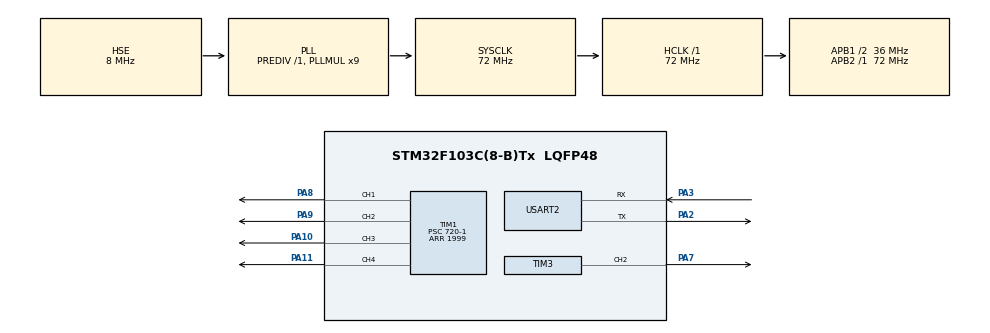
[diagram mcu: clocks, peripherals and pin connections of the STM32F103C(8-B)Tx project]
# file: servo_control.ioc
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Mcu.Family=STM32F1
Mcu.Name=STM32F103C(8-B)Tx
Mcu.Package=LQFP48
NVIC.PriorityGroup=NVIC_PRIORITYGROUP_4
NVIC.TIM1_BRK_IRQn=true\:0\:0\:false\:false\:true\:true\:true\:true
NVIC.TIM1_TRG_COM_IRQn=true\:0\:0\:false\:false\:true\:true\:true\:true
NVIC.TIM1_UP_IRQn=true\:0\:0\:false\:false\:true\:true\:true\:true
NVIC.TIM3_IRQn=true\:0\:0\:false\:false\:true\:true\:true\:true
PA10.Signal=S_TIM1_CH3
PA11.Signal=S_TIM1_CH4
PA13.Mode=Serial_Wire
PA13.Signal=SYS_JTMS-SWDIO
PA14.Mode=Serial_Wire
PA14.Signal=SYS_JTCK-SWCLK
PA2.Mode=Asynchronous
PA2.Signal=USART2_TX
PA3.Mode=Asynchronous
PA3.Signal=USART2_RX
PA7.Signal=S_TIM3_CH2
PA8.Signal=S_TIM1_CH1
PA9.Signal=S_TIM1_CH2
PD0-OSC_IN.Mode=HSE-External-Oscillator
PD0-OSC_IN.Signal=RCC_OSC_IN
PD1-OSC_OUT.Mode=HSE-External-Oscillator
PD1-OSC_OUT.Signal=RCC_OSC_OUT
ProjectManager.HeapSize=0x200
ProjectManager.StackSize=0x400
ProjectManager.TargetToolchain=MDK-ARM V5.32
RCC.AHBFreq_Value=72000000
RCC.APB1CLKDivider=RCC_HCLK_DIV2
RCC.APB1Freq_Value=36000000
RCC.APB1TimFreq_Value=72000000
RCC.APB2Freq_Value=72000000
RCC.APB2TimFreq_Value=72000000
RCC.HCLKFreq_Value=72000000
RCC.PLLMUL=RCC_PLL_MUL9
RCC.PLLSourceVirtual=RCC_PLLSOURCE_HSE
RCC.SYSCLKFreq_VALUE=72000000
RCC.SYSCLKSource=RCC_SYSCLKSOURCE_PLLCLK
RCC.USBFreq_Value=72000000
SH.S_TIM1_CH1.0=TIM1_CH1,PWM Generation1 CH1
SH.S_TIM1_CH2.0=TIM1_CH2,PWM Generation2 CH2
SH.S_TIM1_CH3.0=TIM1_CH3,PWM Generation3 CH3
SH.S_TIM1_CH4.0=TIM1_CH4,PWM Generation4 CH4
SH.S_TIM3_CH2.0=TIM3_CH2,PWM Generation2 CH2
TIM1.AutoReloadPreload=TIM_AUTORELOAD_PRELOAD_ENABLE
TIM1.Channel-PWM\ Generation1\ CH1=TIM_CHANNEL_1
TIM1.Channel-PWM\ Generation2\ CH2=TIM_CHANNEL_2
TIM1.Channel-PWM\ Generation3\ CH3=TIM_CHANNEL_3
TIM1.Channel-PWM\ Generation4\ CH4=TIM_CHANNEL_4
TIM1.Period=1999
TIM1.Prescaler=720-1
TIM1.Pulse-PWM\ Generation2\ CH2=50
TIM3.Channel-PWM\ Generation2\ CH2=TIM_CHANNEL_2
USART2.VirtualMode=VM_ASYNC
VP_TIM1_VS_ClockSourceINT.Mode=Internal
VP_TIM3_VS_ClockSourceINT.Mode=Internal
board=custom

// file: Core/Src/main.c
/* USER CODE BEGIN Header */
/**
  ******************************************************************************
  * @file           : main.c
  * @brief          : Main program body
  ******************************************************************************
  * @attention
  *
  * Copyright (c) 2023 STMicroelectronics.
  * All rights reserved.
  *
  * This software is licensed under terms that can be found in the LICENSE file
  * in the root directory of this software component.
  * If no LICENSE file comes with this software, it is provided AS-IS.
  *
  ******************************************************************************
  */
/* USER CODE END Header */
#include "main.h"
#include "tim.h"
#include "usart.h"
#include "gpio.h"

/* USER CODE BEGIN PV */
//#include "io_retargetToUart.h"
#include <stdio.h>
#include "servo.h"
/* USER CODE END PV */

void SystemClock_Config(void);

/* USER CODE BEGIN 0 */
int fputc(int ch, FILE *f)
{
   HAL_UART_Transmit(&huart2, (uint8_t *)&ch, 1, 0xffff);
   return ch;
}

int fgetc(FILE *f)
{
   uint8_t ch = 0;
   HAL_UART_Receive(&huart2, &ch, 1, 0xffff);
   return ch;
}
/* USER CODE END 0 */

int main(void)
{

  /* MCU Configuration--------------------------------------------------------*/

  /* Reset of all peripherals, Initializes the Flash interface and the Systick. */
  HAL_Init();

  /* Configure the system clock */
  SystemClock_Config();

  /* Initialize all configured peripherals */
  MX_GPIO_Init();
  MX_TIM1_Init();
  MX_USART2_UART_Init();
  MX_TIM3_Init();
  /* USER CODE BEGIN 2 */
	//float m=0;
  HAL_TIM_Base_Start(&htim1);
	HAL_TIM_PWM_Start(&htim1,TIM_CHANNEL_4);
	HAL_TIM_PWM_Start(&htim1,TIM_CHANNEL_2);
	HAL_TIM_PWM_Start(&htim1,TIM_CHANNEL_3);

	//test1

//Servo_SetAngle(0,100);
//Servo_SetAngle(1,3);

//for(float temp=0;temp<=90;temp+=30)
//{Servo_SetAngle(0,temp);
//HAL_Delay(1000);}

Servo_SetAngle(0,20);
HAL_Delay(1500);
Servo_SetAngle(0,180);

		/*for(float temp=0;temp<=180;temp+=30)
	{
	Servo_SetAngle(1,temp);
	HAL_Delay(1000);
	}*/

	//test2

	//Servo_SetAngle(0,95);
	/*
Servo_SetAngle(2,180);
HAL_Delay(1500);
Servo_SetAngle(2,0);
HAL_Delay(1000);
Servo_SetAngle(0,60);
	*/

	//First grab   OK^_^
//
//		Servo_SetAngle(0,56);//^_^
//		Servo_SetAngle(1,180);
//		Servo_SetAngle(2,180); //open
//		HAL_Delay(1000);
//		Servo_SetAngle(2,20);//GRAB
//
//	//Second grab and store
//
//		HAL_Delay(3000);
//		Servo_SetAngle(0,88);
//	  Servo_SetAngle(1,0);
//    HAL_Delay(900);
//		Servo_SetAngle(2,180);//STORE
//
//		HAL_Delay(1500);
//		Servo_SetAngle(0,40);//^_^
//		Servo_SetAngle(1,180);
//		HAL_Delay(1000);
//		Servo_SetAngle(2,20);//GRAB
//
//	//Reposition
//	HAL_Delay(3000);
//	Servo_SetAngle(0,88);
//	Servo_SetAngle(1,90);
//
//	//Shoot
//	HAL_Delay(3000);
//	Servo_SetAngle(1,110);
//	Servo_SetAngle(2,180);//shoot

//	//Shoot again
//	HAL_Delay(3000);
//	Servo_SetAngle(0,88);
//	Servo_SetAngle(1,5);
//	HAL_Delay(1000);
//	Servo_SetAngle(2,0);//grab
//	HAL_Delay(1000);
//	Servo_SetAngle(1,110);
//	HAL_Delay(800);
//	Servo_SetAngle(2,180);//shoot
//

  /* USER CODE END 2 */

  /* Infinite loop */
  while (1)
  {

  }
}

void SystemClock_Config(void)
{
  RCC_OscInitTypeDef RCC_OscInitStruct = {0};
  RCC_ClkInitTypeDef RCC_ClkInitStruct = {0};

  /** Initializes the RCC Oscillators according to the specified parameters
  * in the RCC_OscInitTypeDef structure.
  */
  RCC_OscInitStruct.OscillatorType = RCC_OSCILLATORTYPE_HSE;
  RCC_OscInitStruct.HSEState = RCC_HSE_ON;
  RCC_OscInitStruct.HSEPredivValue = RCC_HSE_PREDIV_DIV1;
  RCC_OscInitStruct.HSIState = RCC_HSI_ON;
  RCC_OscInitStruct.PLL.PLLState = RCC_PLL_ON;
  RCC_OscInitStruct.PLL.PLLSource = RCC_PLLSOURCE_HSE;
  RCC_OscInitStruct.PLL.PLLMUL = RCC_PLL_MUL9;
  if (HAL_RCC_OscConfig(&RCC_OscInitStruct) != HAL_OK)
  {
    Error_Handler();
  }

  /** Initializes the CPU, AHB and APB buses clocks
  */
  RCC_ClkInitStruct.ClockType = RCC_CLOCKTYPE_HCLK|RCC_CLOCKTYPE_SYSCLK
                              |RCC_CLOCKTYPE_PCLK1|RCC_CLOCKTYPE_PCLK2;
  RCC_ClkInitStruct.SYSCLKSource = RCC_SYSCLKSOURCE_PLLCLK;
  RCC_ClkInitStruct.AHBCLKDivider = RCC_SYSCLK_DIV1;
  RCC_ClkInitStruct.APB1CLKDivider = RCC_HCLK_DIV2;
  RCC_ClkInitStruct.APB2CLKDivider = RCC_HCLK_DIV1;

  if (HAL_RCC_ClockConfig(&RCC_ClkInitStruct, FLASH_LATENCY_2) != HAL_OK)
  {
    Error_Handler();
  }
}

void Error_Handler(void)
{
  __disable_irq();
  while (1)
  {
  }
}
